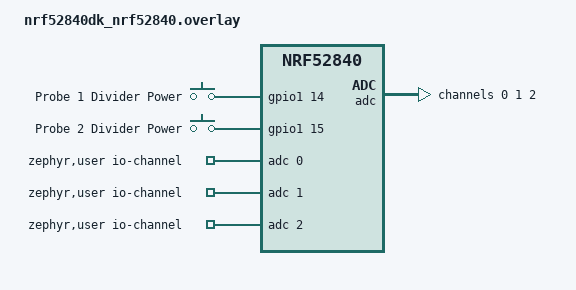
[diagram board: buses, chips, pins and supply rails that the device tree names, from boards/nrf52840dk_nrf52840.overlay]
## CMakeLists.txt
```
#
# Copyright (c) 2021 Nordic Semiconductor ASA
#
# SPDX-License-Identifier: LicenseRef-Nordic-5-Clause
#

cmake_minimum_required(VERSION 3.20.0)

find_package(Zephyr HINTS $ENV{ZEPHYR_BASE})

project(matter-template)

# Enable GNU STD support and initialize the Matter Data Model.
include(${ZEPHYR_CONNECTEDHOMEIP_MODULE_DIR}/config/nrfconnect/app/enable-gnu-std.cmake)
include(${ZEPHYR_CONNECTEDHOMEIP_MODULE_DIR}/src/app/chip_data_model.cmake)

# NORDIC SDK APP START

# Include all source files that are located in the Matter common directory.
include(${ZEPHYR_NRF_MODULE_DIR}/samples/matter/common/cmake/source_common.cmake)

target_include_directories(app PRIVATE
    src
    ${CONFIG_NCS_SAMPLE_MATTER_ZAP_FILES_PATH}
)

target_sources(app PRIVATE
    src/app_task.cpp
    src/main.cpp
    src/zcl_callbacks.cpp
)

chip_configure_data_model(app
    INCLUDE_SERVER
    BYPASS_IDL
    GEN_DIR ${CONFIG_NCS_SAMPLE_MATTER_ZAP_FILES_PATH}/zap-generated
    ZAP_FILE ${CMAKE_CURRENT_SOURCE_DIR}/${CONFIG_NCS_SAMPLE_MATTER_ZAP_FILES_PATH}/template.zap
)
# NORDIC SDK APP END
```

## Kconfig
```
#
# Copyright (c) 2022 Nordic Semiconductor
#
# SPDX-License-Identifier: LicenseRef-Nordic-5-Clause
#
mainmenu "Matter Dual Temperature Sensor"

config REFERENCE_VOLTAGE
	int "The reference voltage"
	range 3000 5000
	default 3300

# Sample configuration used for Thread networking
if NET_L2_OPENTHREAD

choice OPENTHREAD_NORDIC_LIBRARY_CONFIGURATION
	default OPENTHREAD_NORDIC_LIBRARY_MTD
endchoice

choice OPENTHREAD_DEVICE_TYPE
	default OPENTHREAD_MTD
endchoice

endif # NET_L2_OPENTHREAD

source "${ZEPHYR_CONNECTEDHOMEIP_MODULE_DIR}/config/nrfconnect/chip-module/Kconfig.features"
source "${ZEPHYR_CONNECTEDHOMEIP_MODULE_DIR}/config/nrfconnect/chip-module/Kconfig.defaults"
source "${ZEPHYR_NRF_MODULE_DIR}/samples/matter/common/src/Kconfig"
source "Kconfig.zephyr"
```

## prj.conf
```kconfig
#
# Copyright (c) 2021 Nordic Semiconductor ASA
#
# SPDX-License-Identifier: LicenseRef-Nordic-5-Clause
#

# This sample uses Kconfig.defaults to set options common for all
# samples. This file should contain only options specific for this sample
# or overrides of default values.

# Enable CHIP
CONFIG_CHIP=y
CONFIG_CHIP_PROJECT_CONFIG="src/chip_project_config.h"
# 32768 == 0x8000 (example Product ID added temporaly,
# but it must be changed with proper PID from the list:
# https://github.com/project-chip/connectedhomeip/blob/482e6fd03196a6de45465a90003947ef4b86e0b1/docs/examples/discussion/PID_allocation_for_example_apps.md)
CONFIG_CHIP_DEVICE_PRODUCT_ID=32768
CONFIG_STD_CPP17=y

# Enable Matter pairing automatically on application start.
CONFIG_CHIP_ENABLE_PAIRING_AUTOSTART=y

# Enable Matter extended announcement and increase duration to 1 hour.
CONFIG_CHIP_BLE_EXT_ADVERTISING=y
CONFIG_CHIP_BLE_ADVERTISING_DURATION=60

# Add support for LEDs and buttons on Nordic development kits
CONFIG_DK_LIBRARY=y

# Bluetooth Low Energy configuration
CONFIG_BT_DEVICE_NAME="MatterTemplate"

# Other settings
CONFIG_THREAD_NAME=y
CONFIG_MPU_STACK_GUARD=y
CONFIG_RESET_ON_FATAL_ERROR=n
CONFIG_CHIP_LIB_SHELL=y
CONFIG_NCS_SAMPLE_MATTER_TEST_SHELL=y

# Disable NFC commissioning
CONFIG_CHIP_NFC_COMMISSIONING=n

# Reduce application size
CONFIG_USE_SEGGER_RTT=n

# Enable Factory Data feature
CONFIG_CHIP_FACTORY_DATA=y
CONFIG_CHIP_FACTORY_DATA_BUILD=y

# ICD Settings
CONFIG_OPENTHREAD_MTD=y
CONFIG_OPENTHREAD_NORDIC_LIBRARY_MTD=y
CONFIG_OPENTHREAD_DEFAULT_TX_POWER=0

CONFIG_CHIP_ENABLE_ICD_SUPPORT=y

CONFIG_CHIP_ICD_ACTIVE_MODE_DURATION=300
CONFIG_CHIP_ICD_FAST_POLLING_INTERVAL=100

CONFIG_CHIP_ICD_LIT_SUPPORT=y
CONFIG_CHIP_ICD_CHECK_IN_SUPPORT=y
CONFIG_CHIP_ICD_IDLE_MODE_DURATION=120
CONFIG_CHIP_ICD_SLOW_POLL_INTERVAL=30000

CONFIG_ADC=y
CONFIG_NEWLIB_LIBC=y
```

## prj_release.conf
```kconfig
#
# Copyright (c) 2021 Nordic Semiconductor ASA
#
# SPDX-License-Identifier: LicenseRef-Nordic-5-Clause
#

# This sample uses Kconfig.defaults to set options common for all
# samples. This file should contain only options specific for this sample
# or overrides of default values.

# Enable CHIP
CONFIG_CHIP=y
CONFIG_CHIP_PROJECT_CONFIG="src/chip_project_config.h"
# 32768 == 0x8000 (example Product ID added temporaly,
# but it must be changed with proper PID from the list:
# https://github.com/project-chip/connectedhomeip/blob/482e6fd03196a6de45465a90003947ef4b86e0b1/docs/examples/discussion/PID_allocation_for_example_apps.md)
CONFIG_CHIP_DEVICE_PRODUCT_ID=32768
CONFIG_STD_CPP17=y

# Enable Matter pairing automatically on application start.
CONFIG_CHIP_ENABLE_PAIRING_AUTOSTART=y

# Enable Matter extended announcement and increase duration to 1 hour.
CONFIG_CHIP_BLE_EXT_ADVERTISING=y
CONFIG_CHIP_BLE_ADVERTISING_DURATION=60

# Add support for LEDs and buttons on Nordic development kits
CONFIG_DK_LIBRARY=y

# Bluetooth Low Energy configuration
CONFIG_BT_DEVICE_NAME="MatterTemplate"

# Enable system reset on fatal error
CONFIG_RESET_ON_FATAL_ERROR=y

# Disable all debug features
CONFIG_USE_SEGGER_RTT=n
CONFIG_SHELL=n
CONFIG_OPENTHREAD_SHELL=n
CONFIG_CHIP_LIB_SHELL=n
CONFIG_CONSOLE=n
CONFIG_UART_CONSOLE=n
CONFIG_SERIAL=n
CONFIG_LOG=n
CONFIG_LOG_MODE_MINIMAL=n
CONFIG_ASSERT_VERBOSE=n
CONFIG_ASSERT_NO_FILE_INFO=y
CONFIG_PRINTK=n
CONFIG_PRINTK_SYNC=n
CONFIG_THREAD_NAME=n
CONFIG_BOOT_BANNER=n

# Disable NFC commissioning
CONFIG_CHIP_NFC_COMMISSIONING=n

# Enable Factory Data feature
CONFIG_CHIP_FACTORY_DATA=y
CONFIG_CHIP_FACTORY_DATA_BUILD=y

# Enable Watchdog
CONFIG_NCS_SAMPLE_MATTER_WATCHDOG=y

# Enable LTO to decrease the flash usage.
CONFIG_LTO=y
CONFIG_ISR_TABLES_LOCAL_DECLARATION=y

# ICD Settings
CONFIG_OPENTHREAD_MTD=y
CONFIG_OPENTHREAD_NORDIC_LIBRARY_MTD=y
CONFIG_OPENTHREAD_DEFAULT_TX_POWER=0

CONFIG_CHIP_ENABLE_ICD_SUPPORT=y

CONFIG_CHIP_ICD_ACTIVE_MODE_DURATION=300
CONFIG_CHIP_ICD_FAST_POLLING_INTERVAL=100

CONFIG_CHIP_ICD_LIT_SUPPORT=y
CONFIG_CHIP_ICD_CHECK_IN_SUPPORT=y
CONFIG_CHIP_ICD_IDLE_MODE_DURATION=120
CONFIG_CHIP_ICD_SLOW_POLL_INTERVAL=30000
```

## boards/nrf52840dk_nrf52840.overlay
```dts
/* Copyright (c) 2021 Nordic Semiconductor ASA
 *
 * SPDX-License-Identifier: LicenseRef-Nordic-5-Clause
 */

/ {
	chosen {
	 	nordic,pm-ext-flash = &mx25r64;
	};

	power {
		compatible = "gpio-keys";
		probe_1_divider_power: probe_1_divider_power {
			gpios = <&gpio1 14 (GPIO_PULL_DOWN | GPIO_ACTIVE_HIGH)>;
			label = "Probe 1 Divider Power";
		};
		probe_2_divider_power: probe_2_divider_power {
			gpios = <&gpio1 15 (GPIO_PULL_DOWN | GPIO_ACTIVE_HIGH)>;
			label = "Probe 2 Divider Power";
		};
	};

	zephyr,user {
		io-channels = <&adc 0>, <&adc 1>, <&adc 2>;
	};
};


/ {
	/*
	* In some default configurations within the nRF Connect SDK,
	* e.g. on nRF52840, the chosen zephyr,entropy node is &cryptocell.
	* This devicetree overlay ensures that default is overridden wherever it
	* is set, as this application uses the RNG node for entropy exclusively.
	*/
	chosen {
		zephyr,entropy = &rng;
	};
};

&adc {
	#address-cells = <1>;
	#size-cells = <0>;

	channel@0 {
		reg = <0>;
		zephyr,gain = "ADC_GAIN_1_5";
		zephyr,reference = "ADC_REF_INTERNAL";
		zephyr,acquisition-time = <ADC_ACQ_TIME_DEFAULT>;
		zephyr,input-positive = <NRF_SAADC_AIN1>;
		zephyr,resolution = <12>;
		zephyr,oversampling = <8>;
	};

	channel@1 {
		reg = <1>;
		zephyr,gain = "ADC_GAIN_1_5";
		zephyr,reference = "ADC_REF_INTERNAL";
		zephyr,acquisition-time = <ADC_ACQ_TIME_DEFAULT>;
		zephyr,input-positive = <NRF_SAADC_AIN2>;
		zephyr,resolution = <12>;
		zephyr,oversampling = <8>;
	};

	channel@2 {
		reg = <2>;
		zephyr,gain = "ADC_GAIN_1_6";
		zephyr,reference = "ADC_REF_INTERNAL";
		zephyr,acquisition-time = <ADC_ACQ_TIME_DEFAULT>;
		zephyr,input-positive = <NRF_SAADC_AIN7>;
		zephyr,resolution = <12>;
		zephyr,oversampling = <8>;
	};
};

/* Disable unused peripherals to reduce power consumption */
&qspi {
	status = "disabled";
};
&uart1 {
	status = "disabled";
};
&i2c0 {
	status = "disabled";
};
&pwm0 {
	status = "disabled";
};
&spi1 {
	status = "disabled";
};
&spi2 {
	status = "disabled";
};
&spi3 {
	status = "disabled";
};
&usbd {
	status = "disabled";
};
```

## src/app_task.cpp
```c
/*
 * Copyright (c) 2021 Nordic Semiconductor ASA
 *
 * SPDX-License-Identifier: LicenseRef-Nordic-5-Clause
 */

#include "app_task.h"

#include "app/matter_init.h"
#include "app/task_executor.h"
#include "board/board.h"
#include "lib/core/CHIPError.h"
#include "lib/support/CodeUtils.h"

#include <setup_payload/OnboardingCodesUtil.h>

#include <zephyr/logging/log.h>

#include <app-common/zap-generated/attributes/Accessors.h>

#include <inttypes.h>
#include <stddef.h>
#include <stdint.h>

#include <zephyr/device.h>
#include <zephyr/devicetree.h>
#include <zephyr/drivers/adc.h>
#include <zephyr/drivers/gpio.h>
#include <zephyr/kernel.h>
#include <math.h>

LOG_MODULE_DECLARE(app, CONFIG_CHIP_APP_LOG_LEVEL);

using namespace ::chip;
using namespace ::chip::app;
using namespace ::chip::DeviceLayer;

k_timer sSensorTimer;

#define DT_SPEC_AND_COMMA(node_id, prop, idx) ADC_DT_SPEC_GET_BY_IDX(node_id, idx),

static const struct adc_dt_spec adc_channels[] = {DT_FOREACH_PROP_ELEM(DT_PATH(zephyr_user), io_channels, DT_SPEC_AND_COMMA)};

#define PROBE_1_DIVIDER_POWER_NODE DT_NODELABEL(probe_1_divider_power)
#define PROBE_2_DIVIDER_POWER_NODE DT_NODELABEL(probe_2_divider_power)

#define THERMISTORNOMINAL 10000
#define TEMPERATURENOMINAL 25
#define BCOEFFICIENT 3977
#define SERIESRESISTOR 10000
#define CONFIG_REFERENCE_VOLTAGE 3300

int16_t temperature_buf;

struct adc_sequence temperature_sequence = {
	.buffer = &temperature_buf,
	.buffer_size = sizeof(temperature_buf),
	.calibrate = true,
};

float mv_per_lsb = 3000.0F / 4096.0F; // 0.6 / (1/5) = 3
// float batt_mv_per_lsb = 3600.0F / 4096.0F; // 0.6 / (1/6) = 3.6

static const struct gpio_dt_spec probe_1_divider_power = GPIO_DT_SPEC_GET(PROBE_1_DIVIDER_POWER_NODE, gpios);
static const struct gpio_dt_spec probe_2_divider_power = GPIO_DT_SPEC_GET(PROBE_2_DIVIDER_POWER_NODE, gpios);

void SensorTimerHandler(k_timer *timer)
{
	Nrf::PostTask([]
				  { AppTask::SensorMeasureHandler(); });
}

CHIP_ERROR AppTask::Init()
{
	/* Initialize Matter stack */
	ReturnErrorOnFailure(Nrf::Matter::PrepareServer());

	if (!Nrf::GetBoard().Init())
	{
		LOG_ERR("User interface initialization failed.");
		return CHIP_ERROR_INCORRECT_STATE;
	}

	/* Register Matter event handler that controls the connectivity status LED based on the captured Matter network state. */
	ReturnErrorOnFailure(Nrf::Matter::RegisterEventHandler(Nrf::Board::DefaultMatterEventHandler, 0));

	k_timer_init(&sSensorTimer, &SensorTimerHandler, nullptr);
	k_timer_user_data_set(&sSensorTimer, this);

	// TODO Start this timer when we're actually commissioned and connected to a network.
	k_timer_start(&sSensorTimer, K_MSEC(5000), K_MSEC(5000));

	int err;

	for (size_t i = 0U; i < ARRAY_SIZE(adc_channels); i++)
	{
		if (!device_is_ready(adc_channels[i].dev))
		{
			LOG_ERR("ADC controller device not ready");
			return CHIP_ERROR_INTERNAL;
		}

		err = adc_channel_setup_dt(&adc_channels[i]);

		if (err)
		{
			LOG_ERR("Could not setup channel #%d (%d)", i, err);
			return CHIP_ERROR_INTERNAL;
		}

		LOG_INF("Setup channel #%d", i);
	}

	if (!gpio_is_ready_dt(&probe_1_divider_power))
	{
		LOG_ERR("Cannot configure Probe 1 Divider Power switch (err: %d)", err);
		return CHIP_ERROR_INTERNAL;
	}

	err = gpio_pin_configure_dt(&probe_1_divider_power, GPIO_OUTPUT_INACTIVE);
	if (err != 0)
	{
		LOG_ERR("Configuring Probe 1 Divider Power pin failed (err: %d)", err);
		return CHIP_ERROR_INTERNAL;
	}

	if (!gpio_is_ready_dt(&probe_2_divider_power))
	{
		LOG_ERR("Cannot configure Probe 2 Divider Power switch (err: %d)", err);
		return CHIP_ERROR_INTERNAL;
	}

	err = gpio_pin_configure_dt(&probe_2_divider_power, GPIO_OUTPUT_INACTIVE);
	if (err != 0)
	{
		LOG_ERR("Configuring Probe 2 Divider Power pin failed (err: %d)", err);
		return CHIP_ERROR_INTERNAL;
	}

	return Nrf::Matter::StartServer();
}

CHIP_ERROR AppTask::StartApp()
{
	ReturnErrorOnFailure(Init());

	while (true)
	{
		Nrf::DispatchNextTask();
	}

	return CHIP_NO_ERROR;
}

static uint16_t read_temperature(int i)
{
	int err = adc_sequence_init_dt(&adc_channels[i], &temperature_sequence);

	if (err < 0)
	{
		LOG_ERR("Could initialise ADC%d (%d)", i, err);
		return -1;
	}

	err = adc_read(adc_channels[i].dev, &temperature_sequence);

	if (err < 0)
	{
		LOG_ERR("Could not read ADC%d (%d)", i, err);
		return -1;
	}

	int32_t adc_reading = temperature_buf;

	int32_t val_mv = (float)adc_reading * mv_per_lsb;

	float reading = (val_mv * SERIESRESISTOR) / (CONFIG_REFERENCE_VOLTAGE - val_mv);

	double steinhart;
	steinhart = reading / THERMISTORNOMINAL;		  // (R/Ro)
	steinhart = log(steinhart);						  // ln(R/Ro)
	steinhart /= BCOEFFICIENT;						  // 1/B * ln(R/Ro)
	steinhart += 1.0 / (TEMPERATURENOMINAL + 273.15); // + (1/To)
	steinhart = 1.0 / steinhart;					  // Invert
	steinhart -= 273.15;							  // Convert to Celcius

	uint16_t value = (uint16_t)(steinhart);

	LOG_INF("ADC CHANNEL %d", i);
	LOG_INF("A: %d", adc_reading);
	LOG_INF("V: %d", val_mv);
	LOG_INF("R: %d", (int)reading);
	LOG_INF("T: %d", value);

	return value;
}

void AppTask::SensorMeasureHandler()
{
	LOG_INF("Reading temperatures...");

	// Switch on the power pin.
	//
	gpio_pin_set_dt(&probe_1_divider_power, 1);

	// Let the voltage stabalise
	//
	k_sleep(K_MSEC(100));
	uint16_t temperature_1 = read_temperature(0);

	// Switch off the power pin.
	//
	gpio_pin_set_dt(&probe_1_divider_power, 0);

	// Switch on the power pin.
	//
	gpio_pin_set_dt(&probe_2_divider_power, 1);

	// Let the voltage stabalise
	//
	k_sleep(K_MSEC(100));
	uint16_t temperature_2 = read_temperature(1);

	// Switch off the power pin.
	//
	gpio_pin_set_dt(&probe_2_divider_power, 0);

	chip::app::Clusters::TemperatureMeasurement::Attributes::MeasuredValue::Set(1, temperature_1);
	chip::app::Clusters::TemperatureMeasurement::Attributes::MeasuredValue::Set(2, temperature_2);
}
```

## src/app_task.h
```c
/*
 * Copyright (c) 2021 Nordic Semiconductor ASA
 *
 * SPDX-License-Identifier: LicenseRef-Nordic-5-Clause
 */

#pragma once

#include <platform/CHIPDeviceLayer.h>

struct k_timer;

class AppTask {
public:
	static AppTask &Instance()
	{
		static AppTask sAppTask;
		return sAppTask;
	};

	static void SensorMeasureHandler();

	CHIP_ERROR StartApp();

private:
	CHIP_ERROR Init();
};
```

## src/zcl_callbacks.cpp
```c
#include "app_task.h"
#include "app/task_executor.h"

#include <app-common/zap-generated/ids/Attributes.h>
#include <app-common/zap-generated/ids/Clusters.h>
#include <app/ConcreteAttributePath.h>

using namespace ::chip;
using namespace ::chip::app::Clusters;

void MatterPostAttributeChangeCallback(const chip::app::ConcreteAttributePath & attributePath, uint8_t type, uint16_t size, uint8_t * value)
{
    // NO OP
}
```
